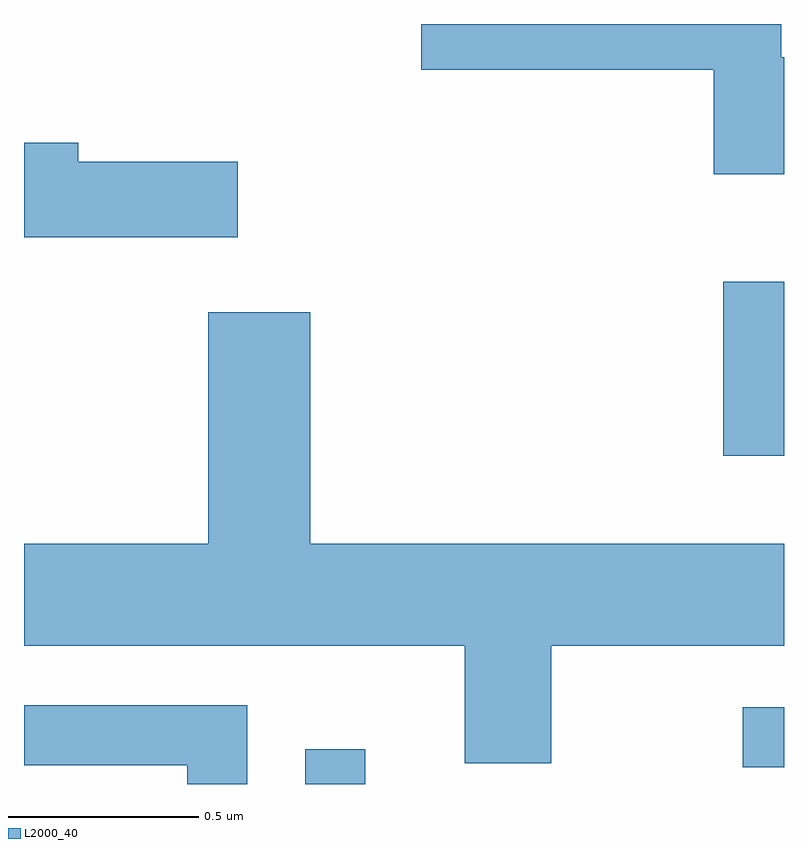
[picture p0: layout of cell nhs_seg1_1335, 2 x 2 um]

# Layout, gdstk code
import gdstk
lib = gdstk.Library(unit=1e-6, precision=1e-09)
def R(c, l, rs):  # rectangles x0, y0, x1, y1
    for r in rs: c.add(gdstk.rectangle(r[:2], r[2:], *l))
def P(c, l, *ps):  # polygons
    for p in ps: c.add(gdstk.Polygon(p, *l))
L2000_40 = (2000, 40)

nhs_seg1_1335 = lib.new_cell('nhs_seg1_1335')
R(nhs_seg1_1335, L2000_40, [(195.351,954.712,195.509,954.803), (196.503,954.756,196.611,954.914), (196.451,955.576,196.611,956.034)])
P(nhs_seg1_1335, L2000_40, [(196.611,956.624),(196.604,956.624),(196.604,956.712),(195.656,956.712),(195.656,956.591),(196.426,956.591),(196.426,956.316),(196.611,956.316)],
  [(195.174,956.349),(194.754,956.349),(194.754,956.399),(194.611,956.399),(194.611,956.151),(195.174,956.151)],
  [(195.999,955.076),(196.611,955.076),(196.611,955.344),(195.364,955.344),(195.364,955.954),(195.096,955.954),(195.096,955.344),(194.611,955.344),(194.611,955.076),(195.771,955.076),(195.771,954.766),(195.999,954.766)],
  [(195.199,954.919),(194.611,954.919),(194.611,954.761),(195.041,954.761),(195.041,954.712),(195.199,954.712)])

lib.write_gds('nhs_seg1_1335.gds')
